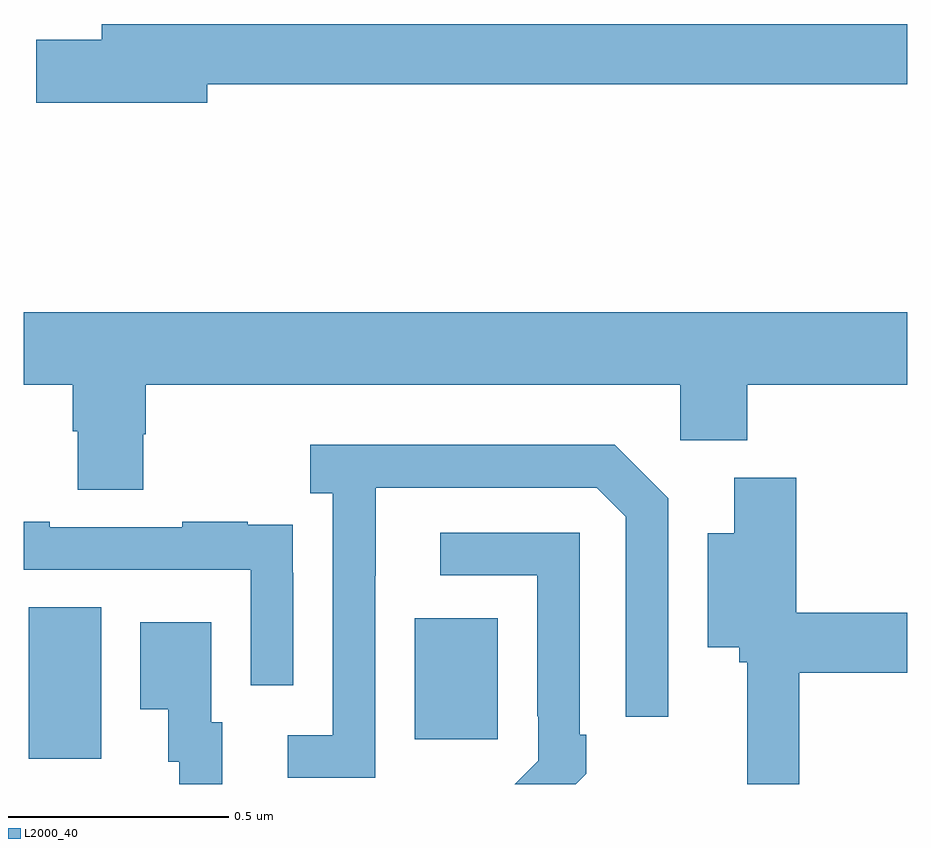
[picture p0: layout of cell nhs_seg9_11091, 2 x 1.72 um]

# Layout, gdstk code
import gdstk
lib = gdstk.Library(unit=1e-6, precision=1e-09)
def R(c, l, rs):  # rectangles x0, y0, x1, y1
    for r in rs: c.add(gdstk.rectangle(r[:2], r[2:], *l))
def P(c, l, *ps):  # polygons
    for p in ps: c.add(gdstk.Polygon(p, *l))
L2000_40 = (2000, 40)

nhs_seg9_11091 = lib.new_cell('nhs_seg9_11091')
R(nhs_seg9_11091, L2000_40, [(251.012,1211.557,251.176,1211.9), (251.885,1211.601,252.073,1211.875)])
P(nhs_seg9_11091, L2000_40, [(251.416,1213.084),(253,1213.084),(253,1213.22),(251.177,1213.22),(251.177,1213.184),(251.028,1213.184),(251.028,1213.042),(251.416,1213.042)],
  [(251.271,1212.291),(251.276,1212.291),(251.276,1212.404),(252.486,1212.404),(252.486,1212.278),(252.638,1212.278),(252.638,1212.404),(253,1212.404),(253,1212.568),(251,1212.568),(251,1212.404),(251.111,1212.404),(251.111,1212.298),(251.123,1212.298),(251.123,1212.166),(251.271,1212.166)],
  [(251.796,1211.971),(251.797,1211.971),(251.797,1212.171),(252.297,1212.171),(252.363,1212.105),(252.363,1211.652),(252.459,1211.652),(252.459,1212.147),(252.338,1212.268),(251.649,1212.268),(251.649,1212.158),(251.7,1212.158),(251.7,1211.61),(251.598,1211.61),(251.598,1211.514),(251.796,1211.514)],
  [(252.755,1211.752),(253,1211.752),(253,1211.888),(252.749,1211.888),(252.749,1212.193),(252.608,1212.193),(252.608,1212.067),(252.548,1212.067),(252.548,1211.81),(252.62,1211.81),(252.62,1211.775),(252.638,1211.775),(252.638,1211.5),(252.755,1211.5)],
  [(251.61,1211.978),(251.609,1211.978),(251.609,1212.087),(251.507,1212.087),(251.507,1212.094),(251.359,1212.094),(251.359,1212.081),(251.059,1212.081),(251.059,1212.094),(251,1212.094),(251,1211.985),(251.514,1211.985),(251.514,1211.724),(251.61,1211.724)],
  [(252.273,1211.523),(252.273,1211.611),(252.258,1211.611),(252.258,1212.069),(251.943,1212.069),(251.943,1211.973),(252.162,1211.973),(252.162,1211.653),(252.165,1211.653),(252.165,1211.553),(252.112,1211.5),(252.25,1211.5)],
  [(251.449,1211.64),(251.425,1211.64),(251.425,1211.866),(251.264,1211.866),(251.264,1211.669),(251.327,1211.669),(251.327,1211.55),(251.352,1211.55),(251.352,1211.5),(251.449,1211.5)])

lib.write_gds('nhs_seg9_11091.gds')
